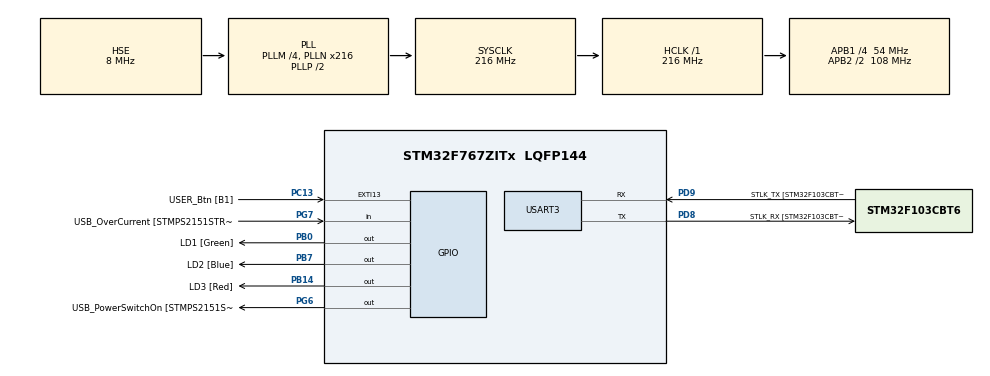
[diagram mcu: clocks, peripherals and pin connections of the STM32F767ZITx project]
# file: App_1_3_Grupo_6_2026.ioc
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CORTEX_M7.default_mode_Activation=1
Mcu.Family=STM32F7
Mcu.Name=STM32F767ZITx
Mcu.Package=LQFP144
NVIC.PriorityGroup=NVIC_PRIORITYGROUP_4
PA1.GPIO_Label=RMII_REF_CLK [LAN8742A-CZ-TR_REFCLK0]
PA1.Signal=ETH_REF_CLK
PA10.GPIO_Label=USB_ID
PA10.Signal=USB_OTG_FS_ID
PA11.GPIO_Label=USB_DM
PA11.Signal=USB_OTG_FS_DM
PA12.GPIO_Label=USB_DP
PA12.Signal=USB_OTG_FS_DP
PA13.GPIO_Label=TMS
PA13.Mode=Serial_Wire
PA13.Signal=SYS_JTMS-SWDIO
PA14.GPIO_Label=TCK
PA14.Mode=Serial_Wire
PA14.Signal=SYS_JTCK-SWCLK
PA2.GPIO_Label=RMII_MDIO [LAN8742A-CZ-TR_MDIO]
PA2.Signal=ETH_MDIO
PA7.GPIO_Label=RMII_CRS_DV [LAN8742A-CZ-TR_CRS_DV]
PA7.Signal=ETH_CRS_DV
PA8.GPIO_Label=USB_SOF [TP1]
PA8.Signal=USB_OTG_FS_SOF
PA9.GPIO_Label=USB_VBUS
PA9.Signal=USB_OTG_FS_VBUS
PB0.GPIO_Label=LD1 [Green]
PB0.Signal=GPIO_Output
PB13.GPIO_Label=RMII_TXD1 [LAN8742A-CZ-TR_TXD1]
PB13.Signal=ETH_TXD1
PB14.GPIO_Label=LD3 [Red]
PB14.Signal=GPIO_Output
PB3.GPIO_Label=SWO
PB3.Signal=SYS_JTDO-SWO
PB7.GPIO_Label=LD2 [Blue]
PB7.Signal=GPIO_Output
PC1.GPIO_Label=RMII_MDC [LAN8742A-CZ-TR_MDC]
PC1.Signal=ETH_MDC
PC13.GPIO_Label=USER_Btn [B1]
PC13.Signal=GPXTI13
PC14/OSC32_IN.Mode=LSE-External-Oscillator
PC14/OSC32_IN.Signal=RCC_OSC32_IN
PC15/OSC32_OUT.Mode=LSE-External-Oscillator
PC15/OSC32_OUT.Signal=RCC_OSC32_OUT
PC4.GPIO_Label=RMII_RXD0 [LAN8742A-CZ-TR_RXD0]
PC4.Signal=ETH_RXD0
PC5.GPIO_Label=RMII_RXD1 [LAN8742A-CZ-TR_RXD1]
PC5.Signal=ETH_RXD1
PD8.GPIO_Label=STLK_RX [STM32F103CBT6_PA3]
PD8.Mode=Asynchronous
PD8.Signal=USART3_TX
PD9.GPIO_Label=STLK_TX [STM32F103CBT6_PA2]
PD9.Mode=Asynchronous
PD9.Signal=USART3_RX
PG11.GPIO_Label=RMII_TX_EN [LAN8742A-CZ-TR_TXEN]
PG11.Signal=ETH_TX_EN
PG13.GPIO_Label=RMII_TXD0 [LAN8742A-CZ-TR_TXD0]
PG13.Signal=ETH_TXD0
PG6.GPIO_Label=USB_PowerSwitchOn [STMPS2151STR_EN]
PG6.Signal=GPIO_Output
PG7.GPIO_Label=USB_OverCurrent [STMPS2151STR_FAULT]
PG7.Signal=GPIO_Input
PH0/OSC_IN.GPIO_Label=MCO [STM32F103CBT6_PA8]
PH0/OSC_IN.Mode=HSE-External-Oscillator
PH0/OSC_IN.Signal=RCC_OSC_IN
PH1/OSC_OUT.Mode=HSE-External-Oscillator
PH1/OSC_OUT.Signal=RCC_OSC_OUT
ProjectManager.HeapSize=0x200
ProjectManager.StackSize=0x400
ProjectManager.TargetToolchain=STM32CubeIDE
RCC.48MHZClocksFreq_Value=24000000
RCC.AHBFreq_Value=216000000
RCC.APB1CLKDivider=RCC_HCLK_DIV4
RCC.APB1Freq_Value=54000000
RCC.APB1TimFreq_Value=108000000
RCC.APB2CLKDivider=RCC_HCLK_DIV2
RCC.APB2Freq_Value=108000000
RCC.APB2TimFreq_Value=216000000
RCC.CortexFreq_Value=216000000
RCC.HCLKFreq_Value=216000000
RCC.HSE_VALUE=8000000
RCC.HSI_VALUE=16000000
RCC.PLLM=4
RCC.PLLMUL=RCC_PLL_MUL9
RCC.PLLN=216
RCC.PLLQ=4
RCC.PLLSourceVirtual=RCC_PLLSOURCE_HSE
RCC.PRESCALERUSB=RCC_USBCLKSOURCE_PLL_DIV1_5
RCC.SYSCLKFreq_VALUE=216000000
RCC.SYSCLKSource=RCC_SYSCLKSOURCE_PLLCLK
RCC.SYSCLKSourceVirtual=RCC_SYSCLKSOURCE_PLLCLK
RCC.USBFreq_Value=108000000
RCC.VCOOutputFreq_Value=432000000
USART3.VirtualMode-Asynchronous=VM_ASYNC
board=NUCLEO-F767ZI

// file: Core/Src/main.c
/* USER CODE BEGIN Header */
/**
  ******************************************************************************
  * @file           : main.c
  * @brief          : Main program body
  ******************************************************************************
  * @attention
  *
  * Copyright (c) 2026 STMicroelectronics.
  * All rights reserved.
  *
  * This software is licensed under terms that can be found in the LICENSE file
  * in the root directory of this software component.
  * If no LICENSE file comes with this software, it is provided AS-IS.
  *
  ******************************************************************************
  */
/* USER CODE END Header */
#include "main.h"

/* USER CODE BEGIN PD */
int Contador;

#define LED1 LD1_Pin
#define LED2 LD2_Pin
#define LED3 LD3_Pin

uint32_t tiempo_led1 = 0;
uint32_t tiempo_led2 = 0;
uint32_t tiempo_led3 = 0;
/* USER CODE END PD */

UART_HandleTypeDef huart3;

void SystemClock_Config(void);
static void MPU_Config(void);
static void MX_GPIO_Init(void);
static void MX_USART3_UART_Init(void);

int main(void)
{

  /* MPU Configuration--------------------------------------------------------*/
  MPU_Config();

  /* MCU Configuration--------------------------------------------------------*/

  /* Reset of all peripherals, Initializes the Flash interface and the Systick. */
  HAL_Init();

  /* Configure the system clock */
  SystemClock_Config();

  /* Initialize all configured peripherals */
  MX_GPIO_Init();
  MX_USART3_UART_Init();

  /* Infinite loop */
  /* USER CODE BEGIN WHILE */
Reinicio:
HAL_GPIO_WritePin(GPIOB, LED1, GPIO_PIN_RESET);
HAL_GPIO_WritePin(GPIOB, LED2, GPIO_PIN_RESET);
HAL_GPIO_WritePin(GPIOB, LED3, GPIO_PIN_RESET);
  Contador = 0; //Reinicia el valor del contador.
    while (1)
    {
    	while (HAL_GPIO_ReadPin(USER_Btn_GPIO_Port, USER_Btn_Pin)==GPIO_PIN_RESET && Contador==0)
    	{

    	}
    	if(Contador==0){Contador  ++;}
        if(Contador==1)
        {
        	HAL_GPIO_TogglePin(GPIOB, LED1);
        	HAL_Delay(150);
        	HAL_GPIO_TogglePin(GPIOB, LED2);
        	HAL_Delay(150);
        	HAL_GPIO_TogglePin(GPIOB, LED3);
        	HAL_Delay(150);
        	HAL_GPIO_TogglePin(GPIOB, LED1);
            HAL_Delay(150);
            HAL_GPIO_TogglePin(GPIOB, LED2);
            HAL_Delay(150);
            HAL_GPIO_TogglePin(GPIOB, LED3);
            HAL_Delay(150);
            uint32_t tiempo_inicio = HAL_GetTick(); // Tomamos la "foto" del tiempo actual
            while ((HAL_GetTick() - tiempo_inicio) < 1000) // Corre en bucle por exactamente 3000 ms
                      {
                          if (HAL_GPIO_ReadPin(USER_Btn_GPIO_Port, USER_Btn_Pin) == GPIO_PIN_SET)
                          {
                            Contador++;    // Sumamos 1 al Contador de la placa
                            HAL_Delay(300); // Anti Rebote.
                          }
                      }
        }
        if(Contador==2)
                {
        	HAL_GPIO_TogglePin(GPIOB, LED1);
        	HAL_GPIO_TogglePin(GPIOB, LED2);
        	HAL_GPIO_TogglePin(GPIOB, LED3);
                	HAL_Delay(300);
            HAL_GPIO_TogglePin(GPIOB, LED1);
            HAL_GPIO_TogglePin(GPIOB, LED2);
            HAL_GPIO_TogglePin(GPIOB, LED3);
                    HAL_Delay(300);
            uint32_t tiempo_inicio = HAL_GetTick(); // Tomamos la "foto" del tiempo actual
                    while ((HAL_GetTick() - tiempo_inicio) < 1000) // Corre en bucle por exactamente 3000 ms
                              {
                                  if (HAL_GPIO_ReadPin(USER_Btn_GPIO_Port, USER_Btn_Pin) == GPIO_PIN_SET)
                                  {
                                    Contador++;    // Sumamos 1 al Contador de la placa
                                    HAL_Delay(300); // Anti Rebote.
                                  }
                              }
                }
        if(Contador == 3)
        {
            // 1. Inicializamos los cronómetros para los 3 segundos y para cada LED
            uint32_t tiempo_inicio = HAL_GetTick();
            uint32_t tiempo_led1   = tiempo_inicio;
            uint32_t tiempo_led2   = tiempo_inicio;
            uint32_t tiempo_led3   = tiempo_inicio;

            // 2. Ventana de análisis de 3000 ms
            while ((HAL_GetTick() - tiempo_inicio) < 3000)
            {
                uint32_t ahora = HAL_GetTick();

                // LED1: Alternancia cada 100 ms
                if (ahora - tiempo_led1 >= 100) {
                    tiempo_led1 = ahora;
                    HAL_GPIO_TogglePin(GPIOB, LED1);
                }
                // LED2: Alternancia cada 300 ms
                if (ahora - tiempo_led2 >= 300) {
                    tiempo_led2 = ahora;
                    HAL_GPIO_TogglePin(GPIOB, LED2);
                }
                // LED3: Alternancia cada 600 ms
                if (ahora - tiempo_led3 >= 600) {
                    tiempo_led3 = ahora;
                    HAL_GPIO_TogglePin(GPIOB, LED3);
                }
            }
            HAL_GPIO_WritePin(GPIOB, LED1, GPIO_PIN_RESET);
            HAL_GPIO_WritePin(GPIOB, LED2, GPIO_PIN_RESET);
            HAL_GPIO_WritePin(GPIOB, LED3, GPIO_PIN_RESET);
        }
                    uint32_t tiempo_inicio = HAL_GetTick(); // Tomamos la "foto" del tiempo actual
                    while ((HAL_GetTick() - tiempo_inicio) < 1000) // Corre en bucle por exactamente 3000 ms
                              {
                                  if (HAL_GPIO_ReadPin(USER_Btn_GPIO_Port, USER_Btn_Pin) == GPIO_PIN_SET)
                                  {
                                    Contador++;    // Sumamos 1 al Contador de la placa
                                    HAL_Delay(300); // Anti Rebote.
                                  }
                              }
                    if(Contador == 4)
                    {
                        // LED1 (Verde) y LED3 (Rojo) ENCENDIDOS. LED2 (Azul) APAGADO.
                    	HAL_GPIO_WritePin(GPIOB, LED1, GPIO_PIN_SET);
                    	HAL_GPIO_WritePin(GPIOB, LED3, GPIO_PIN_SET);
                    	HAL_GPIO_WritePin(GPIOB, LED2, GPIO_PIN_RESET);

                        // 2. Inicializamos cronómetros
                        uint32_t tiempo_inicio = HAL_GetTick();
                        uint32_t tiempo_led    = tiempo_inicio; // Un solo cronómetro para los tres leds ya que van al mismo ritmo

                        uint8_t boton_listo = 1; // Flag para contar un solo clic por pulsación

                        // 3. Ventana de análisis de 3000 ms
                        while ((HAL_GetTick() - tiempo_inicio) < 3000)
                        {
                            uint32_t ahora = HAL_GetTick();
                            if (ahora - tiempo_led >= 150)
                            {
                                tiempo_led = ahora;

                                // Truco: Al hacerle toggle a los tres juntos, los que estaban en 1 pasan a 0
                                // y el que estaba en 0 pasa a 1. Se mantiene la inversión perfecta.
                                HAL_GPIO_TogglePin(GPIOB, LED1);
                                HAL_GPIO_TogglePin(GPIOB, LED2);
                                HAL_GPIO_TogglePin(GPIOB, LED3);
                            }

                            if (HAL_GPIO_ReadPin(USER_Btn_GPIO_Port, USER_Btn_Pin) == GPIO_PIN_SET)
                            {
                                if (boton_listo)
                                {
                                    Contador++;       // Sumamos al Contador de la placa
                                    boton_listo = 0;  // Bloqueamos para evitar falsos conteos
                                }
                            }
                            else
                            {
                                boton_listo = 1; // Queda listo para el próximo toque al soltarlo
                            }

                            HAL_Delay(10); // Margen de estabilidad para el bucle
                        }
                    }
if (Contador>=5)
{goto Reinicio;}

                }
    }
    /* USER CODE END WHILE */
  /* USER CODE END 3 */

void SystemClock_Config(void)
{
  RCC_OscInitTypeDef RCC_OscInitStruct = {0};
  RCC_ClkInitTypeDef RCC_ClkInitStruct = {0};

  /** Configure LSE Drive Capability
  */
  HAL_PWR_EnableBkUpAccess();

  /** Configure the main internal regulator output voltage
  */
  __HAL_RCC_PWR_CLK_ENABLE();
  __HAL_PWR_VOLTAGESCALING_CONFIG(PWR_REGULATOR_VOLTAGE_SCALE1);

  /** Initializes the RCC Oscillators according to the specified parameters
  * in the RCC_OscInitTypeDef structure.
  */
  RCC_OscInitStruct.OscillatorType = RCC_OSCILLATORTYPE_HSE;
  RCC_OscInitStruct.HSEState = RCC_HSE_ON;
  RCC_OscInitStruct.PLL.PLLState = RCC_PLL_ON;
  RCC_OscInitStruct.PLL.PLLSource = RCC_PLLSOURCE_HSE;
  RCC_OscInitStruct.PLL.PLLM = 4;
  RCC_OscInitStruct.PLL.PLLN = 216;
  RCC_OscInitStruct.PLL.PLLP = RCC_PLLP_DIV2;
  RCC_OscInitStruct.PLL.PLLQ = 4;
  RCC_OscInitStruct.PLL.PLLR = 2;
  if (HAL_RCC_OscConfig(&RCC_OscInitStruct) != HAL_OK)
  {
    Error_Handler();
  }

  /** Activate the Over-Drive mode
  */
  if (HAL_PWREx_EnableOverDrive() != HAL_OK)
  {
    Error_Handler();
  }

  /** Initializes the CPU, AHB and APB buses clocks
  */
  RCC_ClkInitStruct.ClockType = RCC_CLOCKTYPE_HCLK|RCC_CLOCKTYPE_SYSCLK
                              |RCC_CLOCKTYPE_PCLK1|RCC_CLOCKTYPE_PCLK2;
  RCC_ClkInitStruct.SYSCLKSource = RCC_SYSCLKSOURCE_PLLCLK;
  RCC_ClkInitStruct.AHBCLKDivider = RCC_SYSCLK_DIV1;
  RCC_ClkInitStruct.APB1CLKDivider = RCC_HCLK_DIV4;
  RCC_ClkInitStruct.APB2CLKDivider = RCC_HCLK_DIV2;

  if (HAL_RCC_ClockConfig(&RCC_ClkInitStruct, FLASH_LATENCY_7) != HAL_OK)
  {
    Error_Handler();
  }
}

static void MX_USART3_UART_Init(void)
{

  huart3.Instance = USART3;
  huart3.Init.BaudRate = 115200;
  huart3.Init.WordLength = UART_WORDLENGTH_8B;
  huart3.Init.StopBits = UART_STOPBITS_1;
  huart3.Init.Parity = UART_PARITY_NONE;
  huart3.Init.Mode = UART_MODE_TX_RX;
  huart3.Init.HwFlowCtl = UART_HWCONTROL_NONE;
  huart3.Init.OverSampling = UART_OVERSAMPLING_16;
  huart3.Init.OneBitSampling = UART_ONE_BIT_SAMPLE_DISABLE;
  huart3.AdvancedInit.AdvFeatureInit = UART_ADVFEATURE_NO_INIT;
  if (HAL_UART_Init(&huart3) != HAL_OK)
  {
    Error_Handler();
  }

}

static void MX_GPIO_Init(void)
{
  GPIO_InitTypeDef GPIO_InitStruct = {0};

  /* GPIO Ports Clock Enable */
  __HAL_RCC_GPIOC_CLK_ENABLE();
  __HAL_RCC_GPIOH_CLK_ENABLE();
  __HAL_RCC_GPIOA_CLK_ENABLE();
  __HAL_RCC_GPIOB_CLK_ENABLE();
  __HAL_RCC_GPIOD_CLK_ENABLE();
  __HAL_RCC_GPIOG_CLK_ENABLE();

  /*Configure GPIO pin Output Level */
  HAL_GPIO_WritePin(GPIOB, LD1_Pin|LD3_Pin|LD2_Pin, GPIO_PIN_RESET);

  /*Configure GPIO pin Output Level */
  HAL_GPIO_WritePin(USB_PowerSwitchOn_GPIO_Port, USB_PowerSwitchOn_Pin, GPIO_PIN_RESET);

  /*Configure GPIO pin : USER_Btn_Pin */
  GPIO_InitStruct.Pin = USER_Btn_Pin;
  GPIO_InitStruct.Mode = GPIO_MODE_IT_RISING;
  GPIO_InitStruct.Pull = GPIO_NOPULL;
  HAL_GPIO_Init(USER_Btn_GPIO_Port, &GPIO_InitStruct);

  /*Configure GPIO pins : RMII_MDC_Pin RMII_RXD0_Pin RMII_RXD1_Pin */
  GPIO_InitStruct.Pin = RMII_MDC_Pin|RMII_RXD0_Pin|RMII_RXD1_Pin;
  GPIO_InitStruct.Mode = GPIO_MODE_AF_PP;
  GPIO_InitStruct.Pull = GPIO_NOPULL;
  GPIO_InitStruct.Speed = GPIO_SPEED_FREQ_HIGH;
  GPIO_InitStruct.Alternate = GPIO_AF11_ETH;
  HAL_GPIO_Init(GPIOC, &GPIO_InitStruct);

  /*Configure GPIO pins : RMII_REF_CLK_Pin RMII_MDIO_Pin RMII_CRS_DV_Pin */
  GPIO_InitStruct.Pin = RMII_REF_CLK_Pin|RMII_MDIO_Pin|RMII_CRS_DV_Pin;
  GPIO_InitStruct.Mode = GPIO_MODE_AF_PP;
  GPIO_InitStruct.Pull = GPIO_NOPULL;
  GPIO_InitStruct.Speed = GPIO_SPEED_FREQ_HIGH;
  GPIO_InitStruct.Alternate = GPIO_AF11_ETH;
  HAL_GPIO_Init(GPIOA, &GPIO_InitStruct);

  /*Configure GPIO pins : LD1_Pin LD3_Pin LD2_Pin */
  GPIO_InitStruct.Pin = LD1_Pin|LD3_Pin|LD2_Pin;
  GPIO_InitStruct.Mode = GPIO_MODE_OUTPUT_PP;
  GPIO_InitStruct.Pull = GPIO_NOPULL;
  GPIO_InitStruct.Speed = GPIO_SPEED_FREQ_LOW;
  HAL_GPIO_Init(GPIOB, &GPIO_InitStruct);

  /*Configure GPIO pin : RMII_TXD1_Pin */
  GPIO_InitStruct.Pin = RMII_TXD1_Pin;
  GPIO_InitStruct.Mode = GPIO_MODE_AF_PP;
  GPIO_InitStruct.Pull = GPIO_NOPULL;
  GPIO_InitStruct.Speed = GPIO_SPEED_FREQ_HIGH;
  GPIO_InitStruct.Alternate = GPIO_AF11_ETH;
  HAL_GPIO_Init(RMII_TXD1_GPIO_Port, &GPIO_InitStruct);

  /*Configure GPIO pin : USB_PowerSwitchOn_Pin */
  GPIO_InitStruct.Pin = USB_PowerSwitchOn_Pin;
  GPIO_InitStruct.Mode = GPIO_MODE_OUTPUT_PP;
  GPIO_InitStruct.Pull = GPIO_NOPULL;
  GPIO_InitStruct.Speed = GPIO_SPEED_FREQ_LOW;
  HAL_GPIO_Init(USB_PowerSwitchOn_GPIO_Port, &GPIO_InitStruct);

  /*Configure GPIO pin : USB_OverCurrent_Pin */
  GPIO_InitStruct.Pin = USB_OverCurrent_Pin;
  GPIO_InitStruct.Mode = GPIO_MODE_INPUT;
  GPIO_InitStruct.Pull = GPIO_NOPULL;
  HAL_GPIO_Init(USB_OverCurrent_GPIO_Port, &GPIO_InitStruct);

  /*Configure GPIO pins : USB_SOF_Pin USB_ID_Pin USB_DM_Pin USB_DP_Pin */
  GPIO_InitStruct.Pin = USB_SOF_Pin|USB_ID_Pin|USB_DM_Pin|USB_DP_Pin;
  GPIO_InitStruct.Mode = GPIO_MODE_AF_PP;
  GPIO_InitStruct.Pull = GPIO_NOPULL;
  GPIO_InitStruct.Speed = GPIO_SPEED_FREQ_VERY_HIGH;
  GPIO_InitStruct.Alternate = GPIO_AF10_OTG_FS;
  HAL_GPIO_Init(GPIOA, &GPIO_InitStruct);

  /*Configure GPIO pin : USB_VBUS_Pin */
  GPIO_InitStruct.Pin = USB_VBUS_Pin;
  GPIO_InitStruct.Mode = GPIO_MODE_INPUT;
  GPIO_InitStruct.Pull = GPIO_NOPULL;
  HAL_GPIO_Init(USB_VBUS_GPIO_Port, &GPIO_InitStruct);

  /*Configure GPIO pins : RMII_TX_EN_Pin RMII_TXD0_Pin */
  GPIO_InitStruct.Pin = RMII_TX_EN_Pin|RMII_TXD0_Pin;
  GPIO_InitStruct.Mode = GPIO_MODE_AF_PP;
  GPIO_InitStruct.Pull = GPIO_NOPULL;
  GPIO_InitStruct.Speed = GPIO_SPEED_FREQ_HIGH;
  GPIO_InitStruct.Alternate = GPIO_AF11_ETH;
  HAL_GPIO_Init(GPIOG, &GPIO_InitStruct);

}

 /* MPU Configuration */

void MPU_Config(void)
{
  MPU_Region_InitTypeDef MPU_InitStruct = {0};

  /* Disables the MPU */
  HAL_MPU_Disable();

  /** Initializes and configures the Region and the memory to be protected
  */
  MPU_InitStruct.Enable = MPU_REGION_ENABLE;
  MPU_InitStruct.Number = MPU_REGION_NUMBER0;
  MPU_InitStruct.BaseAddress = 0x0;
  MPU_InitStruct.Size = MPU_REGION_SIZE_4GB;
  MPU_InitStruct.SubRegionDisable = 0x87;
  MPU_InitStruct.TypeExtField = MPU_TEX_LEVEL0;
  MPU_InitStruct.AccessPermission = MPU_REGION_NO_ACCESS;
  MPU_InitStruct.DisableExec = MPU_INSTRUCTION_ACCESS_DISABLE;
  MPU_InitStruct.IsShareable = MPU_ACCESS_SHAREABLE;
  MPU_InitStruct.IsCacheable = MPU_ACCESS_NOT_CACHEABLE;
  MPU_InitStruct.IsBufferable = MPU_ACCESS_NOT_BUFFERABLE;

  HAL_MPU_ConfigRegion(&MPU_InitStruct);
  /* Enables the MPU */
  HAL_MPU_Enable(MPU_PRIVILEGED_DEFAULT);

}

void Error_Handler(void)
{
  __disable_irq();
  while (1)
  {
  }
}
